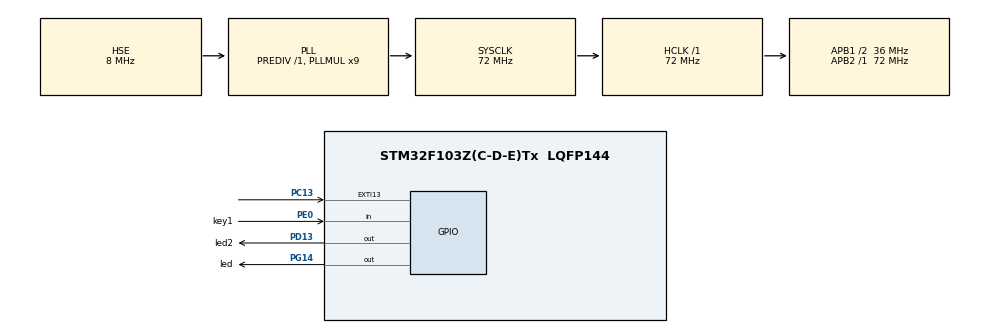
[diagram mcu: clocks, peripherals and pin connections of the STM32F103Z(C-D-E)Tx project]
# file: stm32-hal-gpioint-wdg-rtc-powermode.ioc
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IWDG.Prescaler=IWDG_PRESCALER_32
IWDG.Reload=4000
Mcu.Family=STM32F1
Mcu.Name=STM32F103Z(C-D-E)Tx
Mcu.Package=LQFP144
NVIC.PriorityGroup=NVIC_PRIORITYGROUP_4
NVIC.RTC_IRQn=true\:0\:0\:false\:false\:true\:true\:true\:true
NVIC.WWDG_IRQn=true\:0\:0\:false\:false\:true\:true\:true\:true
OSC_IN.Mode=HSE-External-Oscillator
OSC_IN.Signal=RCC_OSC_IN
OSC_OUT.Mode=HSE-External-Oscillator
OSC_OUT.Signal=RCC_OSC_OUT
PA0-WKUP.GPIO_Label=wakeup
PA0-WKUP.Mode=SYS_WakeUp0
PA0-WKUP.Signal=SYS_WKUP
PA13.Mode=Serial_Wire
PA13.Signal=SYS_JTMS-SWDIO
PA14.Mode=Serial_Wire
PA14.Signal=SYS_JTCK-SWCLK
PC13-TAMPER-RTC.Signal=GPXTI13
PD13.GPIO_Label=led2
PD13.Signal=GPIO_Output
PE0.GPIO_Label=key1
PE0.Signal=GPIO_Input
PG14.GPIO_Label=led
PG14.GPIO_Speed=GPIO_SPEED_FREQ_HIGH
PG14.Signal=GPIO_Output
ProjectManager.HeapSize=0x200
ProjectManager.StackSize=0x400
ProjectManager.TargetToolchain=STM32CubeIDE
RCC.AHBFreq_Value=72000000
RCC.APB1CLKDivider=RCC_HCLK_DIV2
RCC.APB1Freq_Value=36000000
RCC.APB1TimFreq_Value=72000000
RCC.APB2Freq_Value=72000000
RCC.APB2TimFreq_Value=72000000
RCC.HCLKFreq_Value=72000000
RCC.PLLMUL=RCC_PLL_MUL9
RCC.PLLSourceVirtual=RCC_PLLSOURCE_HSE
RCC.SYSCLKFreq_VALUE=72000000
RCC.SYSCLKSource=RCC_SYSCLKSOURCE_PLLCLK
RCC.USBFreq_Value=72000000
RTC.AutoPrediv=RTC_AUTO_1_SECOND
VP_IWDG_VS_IWDG.Mode=IWDG_Activate
VP_RTC_No_RTC_Output.Mode=RTC_OUT_NO
VP_RTC_VS_RTC_Activate.Mode=RTC_Enabled
VP_WWDG_VS_WWDG.Mode=WWDG_Activate
WWDG.EWIMode=WWDG_EWI_ENABLE
board=custom

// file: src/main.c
/* USER CODE BEGIN Header */
/**
  ******************************************************************************
  * @file           : main.c
  * @brief          : Main program body
  ******************************************************************************
  * @attention
  *
  * <h2><center>&copy; Copyright (c) 2022 STMicroelectronics.
  * All rights reserved.</center></h2>
  *
  * This software component is licensed by ST under BSD 3-Clause license,
  * the "License"; You may not use this file except in compliance with the
  * License. You may obtain a copy of the License at:
  *                        opensource.org/licenses/BSD-3-Clause
  *
  ******************************************************************************
  */
/* USER CODE END Header */
/*
tips:
中断与事件的比较
从外部激励信号来看,中断和事件的产生源都可以是一样的.之所以分成2个部分,由于中断是需要CPU参与的,
需要软件的中断服务函数才能完成中断后产生的结果;

但是事件,是靠脉冲发生器产生一个脉冲,进而由硬件自动完成这个事件产生的结果,当然相应的联动部件需要\
先设置好,比如引起DMA操作,AD转换等;

简单举例：外部I/O触发AD转换,来测量外部物品的重量;如果使用传统的中断通道,需要I/O触发产生外部中断,
外部中断服务程序启动AD转换,AD转换完成中断服务程序提交最后结果;要是使用事件通道,I/O触发产生事件,
然后联动触发AD转换,AD转换完成中断服务程序提交最后结果;相比之下,后者不要软件参与AD触发,并且响应速\
度也更块;要是使用事件触发DMA操作,就完全不用软件参与就可以完成某些联动任务了。

总结
可以这样简单的认为,事件机制提供了一个完全有硬件自动完成的触发到产生结果的通道,不要软件的参与,降低\
了CPU的负荷,节省了中断资源，提高了响应速度(硬件总快于软件)，是利用硬件来提升CPU芯片处理事件能力的
一个有效方法;

睡眠
HAL_PWR_EnterSLEEPMode(NULL,PWR_SLEEPENTRY_WFE);PWR_SLEEPENTRY_WFI
进入睡眠，只有cpu停止工作。
WFI (Wait For Interrupt) or WFE (Wait for Event)

由于一般情况下会打开systick中断，所以系统会1ms启动一次，感觉好像没有睡眠，实际上睡眠了。关掉systick
中断就可以验证。

外部中断或事件可以唤醒cpu。

停止模式
HAL_PWR_EnterSTOPMode(PWR_MAINREGULATOR_ON,PWR_STOPENTRY_WFI);
该模式进一步降低功耗，但是唤醒时间变长了。唤醒时间有点奇怪，比理论长很多，还没搞清楚原因。
另外唤醒后时钟变成了hsi rc，如果之前是hse的话，系统整体频率会下降，所以需要重新配置一下clock

待机模式
HAL_PWR_EnterSTANDBYMode();
最省电的模式，系统几乎停滞，除了rtc、iwdg等等。唤醒后类似复位，从最开始执行程序。
使用wakeup引脚，需要清除wakeup标志，不然无法再次进入待机模式。
*/

#include "main.h"
#include "gpio.h"
#include "rtc.h"
#include "iwdg.h"
#include "wwdg.h"

void SystemClock_Config(void);

/* USER CODE BEGIN 0 */
#ifdef BLOCKING_DELAY
void HAL_Delay( uint32_t ms)   //72Mhz时钟，大概1ms延时，不是很准确
{
  for ( uint32_t j=0;j<ms;j++)
    for (volatile uint32_t i=0;i<4000;i++){  //如果函数体没东西这个volatile必不可少，如果函数体有东西，这里没有volatile感觉时间变快了
      __asm__ volatile ("nop");
    };
}
#endif
  /* USER CODE END 0 */

int main(void)
{

  /* MCU Configuration--------------------------------------------------------*/

  /* Reset of all peripherals, Initializes the Flash interface and the Systick. */
  HAL_Init();

  /* Configure the system clock */
  SystemClock_Config();

  /* USER CODE BEGIN SysInit */
#ifdef BLOCKING_DELAY
  //关闭systick必须在SystemClock_Config之后，因为这个里边也初始化了systick。
   SysTick->CTRL &=~SysTick_CTRL_ENABLE_Msk;
  // SysTick->CTRL = 0;           // 禁用SysTick
  //HAL_SuspendTick();
#endif
  /* USER CODE END SysInit */

  /* Initialize all configured peripherals */
  MX_GPIO_Init();
  //quick blink indicate reset
  HAL_GPIO_TogglePin(led2_GPIO_Port,led2_Pin);
   HAL_Delay(50);
  HAL_GPIO_TogglePin(led2_GPIO_Port,led2_Pin);
  HAL_Delay(50);
  HAL_GPIO_TogglePin(led2_GPIO_Port,led2_Pin);
  HAL_Delay(50);
  HAL_GPIO_TogglePin(led2_GPIO_Port,led2_Pin);
  HAL_Delay(50);
  //end blink

#ifdef RTC_ENABLE
  MX_RTC_Init();
#endif
#ifdef IWDG_ENABLE
  MX_IWDG_Init();
#endif
#ifdef WWDG_ENABLE
  MX_WWDG_Init();
#endif

  /* Infinite loop */
  /* USER CODE BEGIN WHILE */
  //
  //
//   if(__HAL_PWR_GET_FLAG(PWR_FLAG_SB))
//   {
//        __HAL_PWR_CLEAR_FLAG(PWR_FLAG_SB);
//   }
  //__HAL_PWR_CLEAR_FLAG(PWR_FLAG_WU);
#ifdef ENTER_STANDBY_MODE
   HAL_PWR_EnableWakeUpPin(PWR_WAKEUP_PIN1);
#endif
  uint32_t pre_tick_10=HAL_GetTick();
  uint32_t pre_tick_20=pre_tick_10;
  uint32_t pre_tick_100=pre_tick_10;
  uint32_t pre_tick_500=pre_tick_100;
  uint32_t pre_tick_1000=pre_tick_100;
  uint32_t pre_tick_2000=pre_tick_100;
  uint32_t curr_tick=pre_tick_100;
  while (1)
  {
    if(curr_tick-pre_tick_10>=10) //100Hz
    {
        pre_tick_10=curr_tick;
#ifdef WWDG_ENABLE
        //HAL_WWDG_Refresh(&hwwdg);  //too early for wwdg
#endif
    }
    if(curr_tick-pre_tick_20>=20) //50Hz
    {
        pre_tick_20=curr_tick;
#ifdef WWDG_ENABLE
        HAL_WWDG_Refresh(&hwwdg);  //wwdg windows 15.5ms-24.5ms
#endif
    }
    if(curr_tick-pre_tick_100>=100) //10Hz
    {
#ifdef WWDG_ENABLE
   //     HAL_WWDG_Refresh(&hwwdg);     //too late for wwdg
#endif
        pre_tick_100=curr_tick;
    }
    if(curr_tick-pre_tick_500>=500) //2Hz
    {
        pre_tick_500=curr_tick;
        HAL_GPIO_TogglePin(led2_GPIO_Port,led2_Pin);
    }
    if(curr_tick-pre_tick_1000>=1000) //1Hz
    {
        pre_tick_1000=curr_tick;
    }
    if(curr_tick-pre_tick_2000>=2000) //0.5Hz
    {
        pre_tick_2000=curr_tick;
#ifdef IWDG_ENABLE
        HAL_IWDG_Refresh(&hiwdg);
#endif
    }
    //press key1 enter low power mode
    if( GPIO_PIN_RESET == HAL_GPIO_ReadPin(key1_GPIO_Port,key1_Pin)){
       HAL_GPIO_TogglePin(led_GPIO_Port,led_Pin);
#ifdef ENTER_SLEEP_MODE
      //HAL_PWR_EnterSLEEPMode(0,PWR_SLEEPENTRY_WFE);
      HAL_PWR_EnterSLEEPMode(0,PWR_SLEEPENTRY_WFI);
#endif
#ifdef ENTER_STOP_MODE
      //HAL_PWR_EnterSTOPMode(PWR_MAINREGULATOR_ON,PWR_STOPENTRY_WFI);
      HAL_PWR_EnterSTOPMode(PWR_LOWPOWERREGULATOR_ON,PWR_STOPENTRY_WFI);
      //退出后会自动选择HSI，如果使用HSE需要重新配置时钟
       SystemClock_Config();
       SysTick->CTRL &=~SysTick_CTRL_ENABLE_Msk;  //同样得关掉systick，不然会一直被systick唤醒
#endif
#ifdef ENTER_STANDBY_MODE
      __HAL_PWR_CLEAR_FLAG(PWR_FLAG_WU);
      HAL_PWR_EnterSTANDBYMode();
#endif

    }
#ifdef BLOCKING_DELAY
    curr_tick++;
    HAL_Delay(1);
#else
    curr_tick=HAL_GetTick();
#endif
    /* USER CODE END WHILE */
  }
}

void SystemClock_Config(void)
{
   RCC_OscInitTypeDef RCC_OscInitStruct = {0};
  RCC_ClkInitTypeDef RCC_ClkInitStruct = {0};
  RCC_PeriphCLKInitTypeDef PeriphClkInit = {0};

  /** Initializes the RCC Oscillators according to the specified parameters
  * in the RCC_OscInitTypeDef structure.
  */
  RCC_OscInitStruct.OscillatorType = RCC_OSCILLATORTYPE_LSI|RCC_OSCILLATORTYPE_HSE;
  RCC_OscInitStruct.HSEState = RCC_HSE_ON;
  RCC_OscInitStruct.HSEPredivValue = RCC_HSE_PREDIV_DIV1;
  RCC_OscInitStruct.HSIState = RCC_HSI_ON;
  RCC_OscInitStruct.LSIState = RCC_LSI_ON;
  RCC_OscInitStruct.PLL.PLLState = RCC_PLL_ON;
  RCC_OscInitStruct.PLL.PLLSource = RCC_PLLSOURCE_HSE;
  RCC_OscInitStruct.PLL.PLLMUL = RCC_PLL_MUL9;
  if (HAL_RCC_OscConfig(&RCC_OscInitStruct) != HAL_OK)
  {
    Error_Handler();
  }
  /** Initializes the CPU, AHB and APB buses clocks
  */
  RCC_ClkInitStruct.ClockType = RCC_CLOCKTYPE_HCLK|RCC_CLOCKTYPE_SYSCLK
                              |RCC_CLOCKTYPE_PCLK1|RCC_CLOCKTYPE_PCLK2;
  RCC_ClkInitStruct.SYSCLKSource = RCC_SYSCLKSOURCE_PLLCLK;
  RCC_ClkInitStruct.AHBCLKDivider = RCC_SYSCLK_DIV1;
  RCC_ClkInitStruct.APB1CLKDivider = RCC_HCLK_DIV2;
  RCC_ClkInitStruct.APB2CLKDivider = RCC_HCLK_DIV1;

  if (HAL_RCC_ClockConfig(&RCC_ClkInitStruct, FLASH_LATENCY_2) != HAL_OK)
  {
    Error_Handler();
  }
  PeriphClkInit.PeriphClockSelection = RCC_PERIPHCLK_RTC;
  PeriphClkInit.RTCClockSelection = RCC_RTCCLKSOURCE_LSI;
  if (HAL_RCCEx_PeriphCLKConfig(&PeriphClkInit) != HAL_OK)
  {
    Error_Handler();
  }
}

void Error_Handler(void)
{
  __disable_irq();
  while (1)
  {
  }
}

/************************ (C) COPYRIGHT STMicroelectronics *****END OF FILE****/
